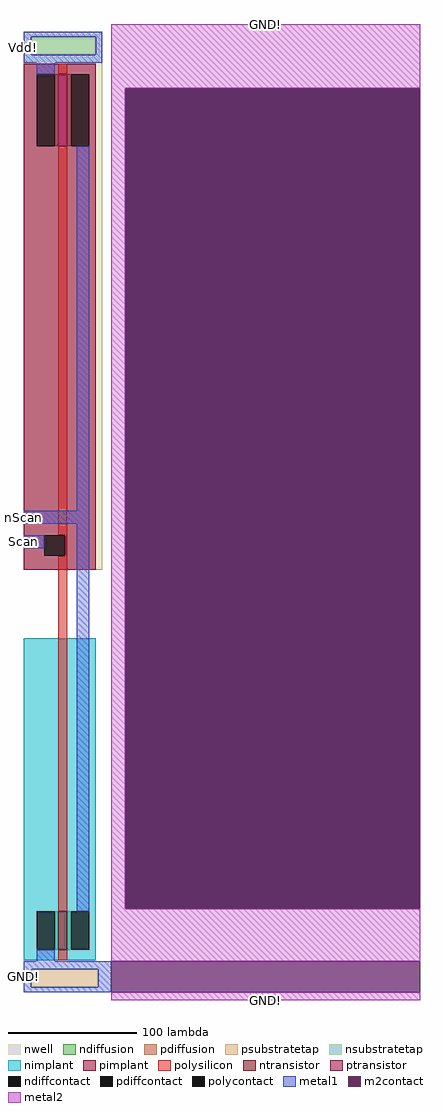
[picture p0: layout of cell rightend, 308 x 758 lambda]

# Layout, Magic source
magic
tech c35b4
<< pimplant >>
rect 0 334 56 727
<< nimplant >>
rect 0 31 56 281
<< nwell >>
rect 0 334 61 752
<< polysilicon >>
rect 27 719 34 727
rect 27 361 34 663
rect 32 345 34 361
rect 27 69 34 345
rect 27 31 34 39
<< ndiffusion >>
rect 24 39 27 69
rect 34 39 37 69
<< pdiffusion >>
rect 24 663 27 719
rect 34 663 37 719
<< ntransistor >>
rect 27 39 34 69
<< ptransistor >>
rect 27 663 34 719
<< polycontact >>
rect 16 345 32 361
rect 79 71 308 708
<< ndiffcontact >>
rect 10 39 24 69
rect 37 39 51 69
<< pdiffcontact >>
rect 10 663 24 719
rect 37 663 51 719
<< psubstratetap >>
rect 6 10 58 24
<< nsubstratetap >>
rect 6 734 56 748
<< metal1 >>
rect 0 748 61 752
rect 0 734 6 748
rect 56 734 61 748
rect 0 728 61 734
rect 10 719 24 728
rect 41 380 51 663
rect 0 370 51 380
rect 0 351 16 361
rect 41 69 51 370
rect 10 30 24 39
rect 0 24 68 30
rect 0 10 6 24
rect 58 10 68 24
rect 0 6 68 10
<< m2contact >>
rect 79 71 308 708
rect 68 6 308 30
<< metal2 >>
rect 68 708 308 758
rect 68 71 79 708
rect 68 30 308 71
rect 68 0 308 6
<< labels >>
rlabel metal1 0 6 0 30 3 GND!
rlabel metal1 0 728 0 752 3 Vdd!
rlabel metal1 0 370 0 380 3 nScan
rlabel metal1 0 351 0 361 3 Scan
rlabel metal2 68 758 308 758 5 GND!
rlabel metal2 68 0 308 0 1 GND!
<< end >>
